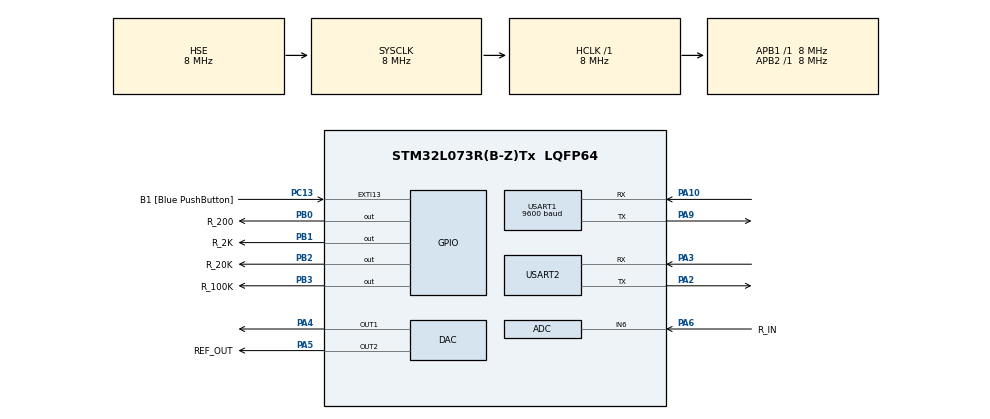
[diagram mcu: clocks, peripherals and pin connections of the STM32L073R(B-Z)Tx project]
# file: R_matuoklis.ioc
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Mcu.Family=STM32L0
Mcu.Name=STM32L073R(B-Z)Tx
Mcu.Package=LQFP64
NVIC.TIM2_IRQn=true\:0\:0\:false\:false\:true\:true\:true\:true
NVIC.TIM3_IRQn=true\:0\:0\:false\:false\:true\:true\:true\:true
NVIC.TIM7_IRQn=true\:0\:0\:false\:false\:true\:true\:true\:true
NVIC.USART1_IRQn=true\:0\:0\:false\:false\:true\:true\:true\:true
PA10.GPIO_ModeDefaultPP=GPIO_MODE_AF_PP
PA10.Mode=Asynchronous
PA10.Signal=USART1_RX
PA13.GPIO_Label=TMS
PA13.Mode=Serial_Wire
PA13.Signal=SYS_SWDIO
PA14.GPIO_Label=TCK
PA14.Mode=Serial_Wire
PA14.Signal=SYS_SWCLK
PA2.Mode=Asynchronous
PA2.Signal=USART2_TX
PA3.Mode=Asynchronous
PA3.Signal=USART2_RX
PA4.Signal=COMP_DAC1_group
PA5.GPIO_Label=REF_OUT
PA5.Signal=COMP_DAC2_group
PA6.GPIO_Label=R_IN
PA6.Mode=IN6
PA6.Signal=ADC_IN6
PA9.GPIO_ModeDefaultPP=GPIO_MODE_AF_PP
PA9.Mode=Asynchronous
PA9.Signal=USART1_TX
PB0.GPIO_Label=R_200
PB0.PinState=GPIO_PIN_RESET
PB0.Signal=GPIO_Output
PB1.GPIO_Label=R_2K
PB1.PinState=GPIO_PIN_RESET
PB1.Signal=GPIO_Output
PB2.GPIO_Label=R_20K
PB2.Signal=GPIO_Output
PB3.GPIO_Label=R_100K
PB3.PinState=GPIO_PIN_RESET
PB3.Signal=GPIO_Output
PC13.GPIO_Label=B1 [Blue PushButton]
PC13.GPIO_ModeDefaultEXTI=GPIO_MODE_IT_FALLING
PC13.Signal=GPXTI13
PC14-OSC32_IN.Mode=LSE-External-Oscillator
PC14-OSC32_IN.Signal=RCC_OSC32_IN
PC15-OSC32_OUT.Mode=LSE-External-Oscillator
PC15-OSC32_OUT.Signal=RCC_OSC32_OUT
PH0-OSC_IN.GPIO_Label=MCO
PH0-OSC_IN.Mode=HSE-External-Clock-Source
PH0-OSC_IN.Signal=RCC_OSC_IN
ProjectManager.HeapSize=0x200
ProjectManager.StackSize=0x400
ProjectManager.TargetToolchain=MDK-ARM V5.32
RCC.ADCFreq_Value=16000000
RCC.AHBFreq_Value=8000000
RCC.APB1Freq_Value=8000000
RCC.APB1TimFreq_Value=8000000
RCC.APB2Freq_Value=8000000
RCC.APB2TimFreq_Value=8000000
RCC.HCLKFreq_Value=8000000
RCC.HSE_VALUE=8000000
RCC.HSI16_VALUE=16000000
RCC.HSI48_VALUE=48000000
RCC.HSI_VALUE=16000000
RCC.MSI_VALUE=2097000
RCC.PLLDIV=RCC_PLLDIV_3
RCC.PLLSourceVirtual=RCC_PLLSOURCE_HSE
RCC.SYSCLKFreq_VALUE=8000000
RCC.SYSCLKSource=RCC_SYSCLKSOURCE_HSE
RCC.VCOOutputFreq_Value=24000000
SH.COMP_DAC1_group.0=DAC_OUT1,DAC_OUT1
SH.COMP_DAC2_group.0=DAC_OUT2,DAC_OUT2
TIM2.Period=999
TIM2.Prescaler=7999
TIM3.AutoReloadPreload=TIM_AUTORELOAD_PRELOAD_ENABLE
TIM3.Period=9
TIM3.Prescaler=7999
TIM7.AutoReloadPreload=TIM_AUTORELOAD_PRELOAD_DISABLE
TIM7.Period=999
TIM7.Prescaler=7999
TIM7.TIM_MasterOutputTrigger=TIM_TRGO_RESET
USART1.BaudRate=9600
USART1.VirtualMode-Asynchronous=VM_ASYNC
USART2.VirtualMode-Asynchronous=VM_ASYNC
VP_TIM2_VS_ClockSourceINT.Mode=Internal
VP_TIM3_VS_ClockSourceINT.Mode=Internal
VP_TIM7_VS_ClockSourceINT.Mode=Enable_Timer
board=NUCLEO-L073RZ

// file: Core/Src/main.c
/* USER CODE BEGIN Header */
/**
  ******************************************************************************
  * @file           : main.c
  * @brief          : Main program body
  ******************************************************************************
  * @attention
  *
  * Copyright (c) 2025 STMicroelectronics.
  * All rights reserved.
  *
  * This software is licensed under terms that can be found in the LICENSE file
  * in the root directory of this software component.
  * If no LICENSE file comes with this software, it is provided AS-IS.
  *
  ******************************************************************************
  */
/* USER CODE END Header */
#include "main.h"

/* USER CODE BEGIN Includes */
#include <math.h>
#include <stdio.h>
#include <string.h>
#include <stdbool.h>

/* USER CODE END Includes */

/* USER CODE BEGIN PD */
#define SAMPLES 100

/* USER CODE END PD */

ADC_HandleTypeDef hadc;

DAC_HandleTypeDef hdac;

TIM_HandleTypeDef htim2;
TIM_HandleTypeDef htim3;
TIM_HandleTypeDef htim7;

UART_HandleTypeDef huart1;
UART_HandleTypeDef huart2;

/* USER CODE BEGIN PV */

//Atramine itampa.
uint16_t dac_value = 4095;

//Matavimo riba.
uint8_t diap = 0;

//Maksimali verte - kalibruota.
uint16_t maks[] = {
    3959,//200
    3988,//2K
    3997,//20K
    3990//100K
};

//Matavimo ribu koeficientai.
uint16_t koef[] = {
    200,
    2,
    20,
    100
};

/*
Matavimo ribos indikavimo komandos.
*/
unsigned char cmd_200_Ohm[] = {0x74, 0x34, 0x2E, 0x74, 0x78, 0x74, 0x3D, 0x22, 0x32, 0x30, 0x30, 0x20, 0xE2, 0x84, 0xA6, 0x22};//t4.txt="200 Ohm" - 16 baitu
unsigned char cmd_2_kOhm[] = {0x74, 0x34, 0x2E, 0x74, 0x78, 0x74, 0x3D, 0x22, 0x32, 0x20, 0x6B, 0xE2, 0x84, 0xA6, 0x22};//t4.txt="2 kOhm" - 15 baitu
unsigned char cmd_20_kOhm[] = {0x74, 0x34, 0x2E, 0x74, 0x78, 0x74, 0x3D, 0x22, 0x32, 0x30, 0x20, 0x6B, 0xE2, 0x84, 0xA6, 0x22};//t4.txt="20 kOhm" - 16 baitu
unsigned char cmd_100_kOhm[] = {0x74, 0x34, 0x2E, 0x74, 0x78, 0x74, 0x3D, 0x22, 0x31, 0x30, 0x30, 0x20, 0x6B, 0xE2, 0x84, 0xA6, 0x22};//t4.txt="100 kOhm" - 17 baitu

/*
Matavimo proceso indikatoriaus kontroles komandos.
*/
unsigned char cmd_tick_on[] = {0x74, 0x35, 0x2E, 0x61, 0x70, 0x68, 0x3D, 0x31, 0x32, 0x37};//t5.aph=127 - 10 baitu
unsigned char cmd_tick_off[] = {0x74, 0x35, 0x2E, 0x61, 0x70, 0x68, 0x3D, 0x30};//t5.aph=127 - 8 baitai

/*
Nextion komandos terminavimo seka.
*/
static uint8_t LF_pattern[] = {0xFF, 0xFF, 0xFF};

/*
Matavimo vienetai.
*/
unsigned char s_ohm[] = {0xE2, 0x84, 0xA6};//Ohm
unsigned char s_kohm[] = {0x6B, 0xE2, 0x84, 0xA6};//kOhm

/*
Struktura naudojama priimant UART duomenis.
*/
typedef struct {
    uint8_t buffer[16];
    volatile uint16_t head;
    volatile uint16_t tail;
} uart_rx_buffer_t;
uart_rx_buffer_t uart_rx = { .head = 0, .tail = 0 };

uint8_t sample_count = 0;
uint16_t ADC_samples[SAMPLES];
float R;
uint8_t rx_data;

unsigned char ADC_Ready = 1;
char buffr[25];
char rToNextion[25];
size_t txt_len = 0;
unsigned char mat_vnt[4];
bool tick_on = false;

/* USER CODE END PV */

void SystemClock_Config(void);
static void MX_GPIO_Init(void);
static void MX_DAC_Init(void);
static void MX_TIM7_Init(void);
static void MX_TIM3_Init(void);
static void MX_ADC_Init(void);
static void MX_USART1_UART_Init(void);
static void MX_USART2_UART_Init(void);
static void MX_TIM2_Init(void);

/* USER CODE BEGIN 0 */

/*
Isciuncia komandos terminavimo seka i Nextion.
*/
void sendTerm() {
    HAL_UART_Transmit(&huart1, (uint8_t*)LF_pattern, 3, 10);
}

/*
Atlieka matavimo ribos perjungima.
*/
void HAL_UART_RxCpltCallback(UART_HandleTypeDef *huart) {
    if (huart->Instance == USART1) {
        HAL_UART_Receive_IT(&huart1, &rx_data, 1);

        uart_rx.buffer[uart_rx.head] = rx_data;

        if (uart_rx.head > 1
        && uart_rx.buffer[uart_rx.head - 2] == 0xFF
        && uart_rx.buffer[uart_rx.head - 1] == 0xFF
        && uart_rx.buffer[uart_rx.head] == 0xFF) { //Visi duomenys priimti (atpazinta komandos tarminavimo seka 0xFF, 0xFF, 0xFF.

            switch (uart_rx.buffer[uart_rx.head - 4]) {
            case 0x04://Diapozono sumazinimo mygtuko ID
                if (diap > 0) {
                    diap = diap - 1;
                }
                break;
            case 0x03://Diapozono padidinimo mygtuko ID
                if (diap < 3) {
                    diap = diap + 1;
                }
                break;
            }

            //Diapozono perjungimas

            HAL_GPIO_WritePin(R_200_GPIO_Port, R_200_Pin, GPIO_PIN_RESET);
            HAL_GPIO_WritePin(R_2K_GPIO_Port, R_2K_Pin, GPIO_PIN_RESET);
            HAL_GPIO_WritePin(R_20K_GPIO_Port, R_20K_Pin, GPIO_PIN_RESET);
            HAL_GPIO_WritePin(R_100K_GPIO_Port, R_100K_Pin, GPIO_PIN_RESET);

            switch (diap) {
            case 0:
                HAL_GPIO_WritePin(R_200_GPIO_Port, R_200_Pin, GPIO_PIN_SET);
                HAL_UART_Transmit(&huart1, cmd_200_Ohm, 16, 10);
                sendTerm();
                break;
            case 1:
                HAL_GPIO_WritePin(R_2K_GPIO_Port, R_2K_Pin, GPIO_PIN_SET);
                HAL_UART_Transmit(&huart1, cmd_2_kOhm, 15, 10);
                sendTerm();
                break;
            case 2:
                HAL_GPIO_WritePin(R_20K_GPIO_Port, R_20K_Pin, GPIO_PIN_SET);
                HAL_UART_Transmit(&huart1, cmd_20_kOhm, 16, 10);
                sendTerm();
                break;
            case 3:
                HAL_GPIO_WritePin(R_100K_GPIO_Port, R_100K_Pin, GPIO_PIN_SET);
                HAL_UART_Transmit(&huart1, cmd_100_kOhm, 17, 10);
                sendTerm();
                break;
            }

            uart_rx.head = 0;
            memset(uart_rx.buffer, 0x00, sizeof(uart_rx.buffer));
        }

        uart_rx.head = uart_rx.head + 1;
    }
}

/*
Atlieka duomenu nsukaityma, ju issiuntima i PC bei Nextion. Taip pat kontroliuoja duomenu nuskaitymo indikatoriu.
*/
void HAL_TIM_PeriodElapsedCallback(TIM_HandleTypeDef * htim) {
    if (htim == &htim7 && sample_count == SAMPLES) {

        float total = 0;
        for (int a = 0; a < sample_count; a++) {
            total += (float) ADC_samples[a] / maks[diap];
        }

        R = (total / SAMPLES) * koef[diap];

        if (R > koef[diap] + (float_t)koef[diap]/200) {//Indikuojama kai virsijama matavimo riba, papildomai pridedant 0.5 proc.
            strcpy(buffr, "0,L\r\n");
            txt_len = 5;

        } else {
				uint8_t i = 3;//Indeksas pakeisti taska kableliu.
            char fmt[] = "%007.3f %.4s\r\n";
            switch (diap) {
            case 0:
                memcpy(mat_vnt, s_ohm, 3);//Ohm
                strcpy(fmt, "%007.3f %.3s\r\n");
								i = 3;
                break;
            case 1:
                memcpy(mat_vnt, s_kohm, 4);//kOhm
                strcpy(fmt, "%5.3f %.4s\r\n");
								i = 1;
                break;
            case 2:
                memcpy(mat_vnt, s_kohm, 4);//kOhm
                strcpy(fmt, "%06.3f %.4s\r\n");
								i = 2;
                break;
            case 3:
                memcpy(mat_vnt, s_kohm, 4);//kOhm
                strcpy(fmt, "%007.3f %.4s\r\n");
								i = 3;
                break;
            };

						R = roundf(R*1000.0f)/1000.0f;

            txt_len = snprintf(NULL, 0, fmt, R, mat_vnt);
            sprintf(buffr, fmt, R, mat_vnt);
						memset(buffr + i, ',', 1);//Pakeiciamas taskas kableliu.
        }

        sample_count = 0;
        size_t buf_len = sizeof buffr;

        //Isiunciami duomenys i personalini kompiuteri.
        HAL_UART_Transmit(&huart2, (uint8_t*)buffr, buf_len, 10);

        //Isiunciami duomenys i Nextion.
        memset(rToNextion, 0x00, sizeof(rToNextion));

        char cmd[] = "t3.txt=\"";
        size_t c_len = sizeof cmd - 1;

        memcpy(rToNextion, cmd, c_len);
        txt_len -= 2;
        memcpy(rToNextion + c_len, buffr,  txt_len);
        memcpy(rToNextion + c_len + txt_len, "\"", 1);

        HAL_UART_Transmit(&huart1, (uint8_t*)rToNextion, c_len + txt_len + 1, 10);
        sendTerm();

    } else if (htim == &htim3) {
        if (sample_count < SAMPLES) {

            //Ijungiamas matavimo indikatorius
            if (!tick_on) {
                HAL_UART_Transmit(&huart1, cmd_tick_on, 10, 10);
                sendTerm();

                tick_on = true;
            }

            //Nuskaitomi ADC duomenys
            if (ADC_Ready == 1) {
                if (HAL_ADC_Start(&hadc) != HAL_OK) {
                    Error_Handler();
                } else {
                    ADC_Ready = 0;
                }

                if (HAL_ADC_PollForConversion(&hadc, 10) == HAL_OK) {
                    if ((HAL_ADC_GetState(&hadc) & HAL_ADC_STATE_REG_EOC) == HAL_ADC_STATE_REG_EOC) {
                        ADC_samples[sample_count] = HAL_ADC_GetValue(&hadc);

                        sample_count ++;
                        ADC_Ready = 1;
                    }
                }
            }
        } else {
            //Isjungiamas matavimo indikatorius
            if (tick_on) {
                HAL_UART_Transmit(&huart1, cmd_tick_off, 8, 10);
                sendTerm();

                tick_on = false;
            }
        }
    } else if (htim == &htim2) {//Nustatomi matuoklio pradiniai parametrai

        diap = 0;
        HAL_GPIO_WritePin(R_200_GPIO_Port, R_200_Pin, GPIO_PIN_SET);
        HAL_UART_Transmit(&huart1, cmd_200_Ohm, 16, 10);
        sendTerm();

        //Taimeris isjungiamas.
        if (HAL_TIM_Base_Stop_IT(&htim2) != HAL_OK) {
            Error_Handler();
        }
    }
}

/* USER CODE END 0 */

int main(void) {

    /* MCU Configuration--------------------------------------------------------*/

    /* Reset of all peripherals, Initializes the Flash interface and the Systick. */
    HAL_Init();

    /* Configure the system clock */
    SystemClock_Config();

    /* Initialize all configured peripherals */
    MX_GPIO_Init();
    MX_DAC_Init();
    MX_TIM7_Init();
    MX_TIM3_Init();
    MX_ADC_Init();
    MX_USART1_UART_Init();
    MX_USART2_UART_Init();
    MX_TIM2_Init();
    /* USER CODE BEGIN 2 */

// Ref. itampos nustatymas
    HAL_DAC_Start(&hdac, DAC_CHANNEL_2);
    HAL_DAC_SetValue(&hdac, DAC_CHANNEL_2, DAC_ALIGN_12B_R, dac_value);

//ADC kalibravimas
    if (HAL_ADCEx_Calibration_Start(&hadc, ADC_SINGLE_ENDED) != HAL_OK) {
        Error_Handler();
    }

//Taimeriu paleidimas
    if (HAL_TIM_Base_Start_IT(&htim7) != HAL_OK) {
        Error_Handler();
    }

    if (HAL_TIM_Base_Start_IT(&htim2) != HAL_OK) {
        Error_Handler();
    }

    if (HAL_TIM_Base_Start_IT(&htim3) != HAL_OK) {
        Error_Handler();
    }

    /* USER CODE END 2 */

    /* Infinite loop */
    while (1) {

    }
}

void SystemClock_Config(void) {
    RCC_OscInitTypeDef RCC_OscInitStruct = {0};
    RCC_ClkInitTypeDef RCC_ClkInitStruct = {0};
    RCC_PeriphCLKInitTypeDef PeriphClkInit = {0};

    /** Configure the main internal regulator output voltage
    */
    __HAL_PWR_VOLTAGESCALING_CONFIG(PWR_REGULATOR_VOLTAGE_SCALE1);

    /** Initializes the RCC Oscillators according to the specified parameters
    * in the RCC_OscInitTypeDef structure.
    */
    RCC_OscInitStruct.OscillatorType = RCC_OSCILLATORTYPE_HSE;
    RCC_OscInitStruct.HSEState = RCC_HSE_BYPASS;
    RCC_OscInitStruct.PLL.PLLState = RCC_PLL_NONE;
    if (HAL_RCC_OscConfig(&RCC_OscInitStruct) != HAL_OK) {
        Error_Handler();
    }

    /** Initializes the CPU, AHB and APB buses clocks
    */
    RCC_ClkInitStruct.ClockType = RCC_CLOCKTYPE_HCLK | RCC_CLOCKTYPE_SYSCLK
                                  | RCC_CLOCKTYPE_PCLK1 | RCC_CLOCKTYPE_PCLK2;
    RCC_ClkInitStruct.SYSCLKSource = RCC_SYSCLKSOURCE_HSE;
    RCC_ClkInitStruct.AHBCLKDivider = RCC_SYSCLK_DIV1;
    RCC_ClkInitStruct.APB1CLKDivider = RCC_HCLK_DIV1;
    RCC_ClkInitStruct.APB2CLKDivider = RCC_HCLK_DIV1;

    if (HAL_RCC_ClockConfig(&RCC_ClkInitStruct, FLASH_LATENCY_0) != HAL_OK) {
        Error_Handler();
    }
    PeriphClkInit.PeriphClockSelection = RCC_PERIPHCLK_USART1 | RCC_PERIPHCLK_USART2;
    PeriphClkInit.Usart1ClockSelection = RCC_USART1CLKSOURCE_PCLK2;
    PeriphClkInit.Usart2ClockSelection = RCC_USART2CLKSOURCE_PCLK1;
    if (HAL_RCCEx_PeriphCLKConfig(&PeriphClkInit) != HAL_OK) {
        Error_Handler();
    }
}

static void MX_ADC_Init(void) {

    ADC_ChannelConfTypeDef sConfig = {0};

    /** Configure the global features of the ADC (Clock, Resolution, Data Alignment and number of conversion)
    */
    hadc.Instance = ADC1;
    hadc.Init.OversamplingMode = DISABLE;
    hadc.Init.ClockPrescaler = ADC_CLOCK_SYNC_PCLK_DIV1;
    hadc.Init.Resolution = ADC_RESOLUTION_12B;
    hadc.Init.SamplingTime = ADC_SAMPLETIME_1CYCLE_5;
    hadc.Init.ScanConvMode = ADC_SCAN_DIRECTION_FORWARD;
    hadc.Init.DataAlign = ADC_DATAALIGN_RIGHT;
    hadc.Init.ContinuousConvMode = DISABLE;
    hadc.Init.DiscontinuousConvMode = DISABLE;
    hadc.Init.ExternalTrigConvEdge = ADC_EXTERNALTRIGCONVEDGE_NONE;
    hadc.Init.ExternalTrigConv = ADC_SOFTWARE_START;
    hadc.Init.DMAContinuousRequests = DISABLE;
    hadc.Init.EOCSelection = ADC_EOC_SINGLE_CONV;
    hadc.Init.Overrun = ADC_OVR_DATA_PRESERVED;
    hadc.Init.LowPowerAutoWait = DISABLE;
    hadc.Init.LowPowerFrequencyMode = DISABLE;
    hadc.Init.LowPowerAutoPowerOff = DISABLE;
    if (HAL_ADC_Init(&hadc) != HAL_OK) {
        Error_Handler();
    }

    /** Configure for the selected ADC regular channel to be converted.
    */
    sConfig.Channel = ADC_CHANNEL_6;
    sConfig.Rank = ADC_RANK_CHANNEL_NUMBER;
    if (HAL_ADC_ConfigChannel(&hadc, &sConfig) != HAL_OK) {
        Error_Handler();
    }

}

static void MX_DAC_Init(void) {

    DAC_ChannelConfTypeDef sConfig = {0};

    /** DAC Initialization
    */
    hdac.Instance = DAC;
    if (HAL_DAC_Init(&hdac) != HAL_OK) {
        Error_Handler();
    }

    /** DAC channel OUT1 config
    */
    sConfig.DAC_Trigger = DAC_TRIGGER_NONE;
    sConfig.DAC_OutputBuffer = DAC_OUTPUTBUFFER_ENABLE;
    if (HAL_DAC_ConfigChannel(&hdac, &sConfig, DAC_CHANNEL_1) != HAL_OK) {
        Error_Handler();
    }

    /** DAC channel OUT2 config
    */
    if (HAL_DAC_ConfigChannel(&hdac, &sConfig, DAC_CHANNEL_2) != HAL_OK) {
        Error_Handler();
    }

}

static void MX_TIM2_Init(void) {

    TIM_ClockConfigTypeDef sClockSourceConfig = {0};
    TIM_MasterConfigTypeDef sMasterConfig = {0};

    htim2.Instance = TIM2;
    htim2.Init.Prescaler = 7999;
    htim2.Init.CounterMode = TIM_COUNTERMODE_UP;
    htim2.Init.Period = 999;
    htim2.Init.ClockDivision = TIM_CLOCKDIVISION_DIV1;
    htim2.Init.AutoReloadPreload = TIM_AUTORELOAD_PRELOAD_DISABLE;
    if (HAL_TIM_Base_Init(&htim2) != HAL_OK) {
        Error_Handler();
    }
    sClockSourceConfig.ClockSource = TIM_CLOCKSOURCE_INTERNAL;
    if (HAL_TIM_ConfigClockSource(&htim2, &sClockSourceConfig) != HAL_OK) {
        Error_Handler();
    }
    sMasterConfig.MasterOutputTrigger = TIM_TRGO_RESET;
    sMasterConfig.MasterSlaveMode = TIM_MASTERSLAVEMODE_DISABLE;
    if (HAL_TIMEx_MasterConfigSynchronization(&htim2, &sMasterConfig) != HAL_OK) {
        Error_Handler();
    }

}

static void MX_TIM3_Init(void) {

    TIM_ClockConfigTypeDef sClockSourceConfig = {0};
    TIM_MasterConfigTypeDef sMasterConfig = {0};

    htim3.Instance = TIM3;
    htim3.Init.Prescaler = 7999;
    htim3.Init.CounterMode = TIM_COUNTERMODE_UP;
    htim3.Init.Period = 9;
    htim3.Init.ClockDivision = TIM_CLOCKDIVISION_DIV1;
    htim3.Init.AutoReloadPreload = TIM_AUTORELOAD_PRELOAD_ENABLE;
    if (HAL_TIM_Base_Init(&htim3) != HAL_OK) {
        Error_Handler();
    }
    sClockSourceConfig.ClockSource = TIM_CLOCKSOURCE_INTERNAL;
    if (HAL_TIM_ConfigClockSource(&htim3, &sClockSourceConfig) != HAL_OK) {
        Error_Handler();
    }
    sMasterConfig.MasterOutputTrigger = TIM_TRGO_RESET;
    sMasterConfig.MasterSlaveMode = TIM_MASTERSLAVEMODE_DISABLE;
    if (HAL_TIMEx_MasterConfigSynchronization(&htim3, &sMasterConfig) != HAL_OK) {
        Error_Handler();
    }

}

static void MX_TIM7_Init(void) {

    TIM_MasterConfigTypeDef sMasterConfig = {0};

    htim7.Instance = TIM7;
    htim7.Init.Prescaler = 7999;
    htim7.Init.CounterMode = TIM_COUNTERMODE_UP;
    htim7.Init.Period = 999;
    htim7.Init.AutoReloadPreload = TIM_AUTORELOAD_PRELOAD_DISABLE;
    if (HAL_TIM_Base_Init(&htim7) != HAL_OK) {
        Error_Handler();
    }
    sMasterConfig.MasterOutputTrigger = TIM_TRGO_RESET;
    sMasterConfig.MasterSlaveMode = TIM_MASTERSLAVEMODE_DISABLE;
    if (HAL_TIMEx_MasterConfigSynchronization(&htim7, &sMasterConfig) != HAL_OK) {
        Error_Handler();
    }

}

static void MX_USART1_UART_Init(void) {

    huart1.Instance = USART1;
    huart1.Init.BaudRate = 9600;
    huart1.Init.WordLength = UART_WORDLENGTH_8B;
    huart1.Init.StopBits = UART_STOPBITS_1;
    huart1.Init.Parity = UART_PARITY_NONE;
    huart1.Init.Mode = UART_MODE_TX_RX;
    huart1.Init.HwFlowCtl = UART_HWCONTROL_NONE;
    huart1.Init.OverSampling = UART_OVERSAMPLING_16;
    huart1.Init.OneBitSampling = UART_ONE_BIT_SAMPLE_DISABLE;
    huart1.AdvancedInit.AdvFeatureInit = UART_ADVFEATURE_NO_INIT;
    if (HAL_UART_Init(&huart1) != HAL_OK) {
        Error_Handler();
    }
    /* USER CODE BEGIN USART1_Init 2 */
// Enable RX interrupt
    HAL_UART_Receive_IT(&huart1, &rx_data, 10);
    /* USER CODE END USART1_Init 2 */

}

static void MX_USART2_UART_Init(void) {

    huart2.Instance = USART2;
    huart2.Init.BaudRate = 115200;
    huart2.Init.WordLength = UART_WORDLENGTH_8B;
    huart2.Init.StopBits = UART_STOPBITS_1;
    huart2.Init.Parity = UART_PARITY_NONE;
    huart2.Init.Mode = UART_MODE_TX_RX;
    huart2.Init.HwFlowCtl = UART_HWCONTROL_NONE;
    huart2.Init.OverSampling = UART_OVERSAMPLING_16;
    huart2.Init.OneBitSampling = UART_ONE_BIT_SAMPLE_DISABLE;
    huart2.AdvancedInit.AdvFeatureInit = UART_ADVFEATURE_NO_INIT;
    if (HAL_UART_Init(&huart2) != HAL_OK) {
        Error_Handler();
    }

}

static void MX_GPIO_Init(void) {
    GPIO_InitTypeDef GPIO_InitStruct = {0};

    /* GPIO Ports Clock Enable */
    __HAL_RCC_GPIOC_CLK_ENABLE();
    __HAL_RCC_GPIOH_CLK_ENABLE();
    __HAL_RCC_GPIOA_CLK_ENABLE();
    __HAL_RCC_GPIOB_CLK_ENABLE();

    /*Configure GPIO pin Output Level */
    HAL_GPIO_WritePin(GPIOB, R_200_Pin | R_2K_Pin | R_20K_Pin | R_100K_Pin, GPIO_PIN_RESET);

    /*Configure GPIO pin : B1_Pin */
    GPIO_InitStruct.Pin = B1_Pin;
    GPIO_InitStruct.Mode = GPIO_MODE_IT_FALLING;
    GPIO_InitStruct.Pull = GPIO_NOPULL;
    HAL_GPIO_Init(B1_GPIO_Port, &GPIO_InitStruct);

    /*Configure GPIO pins : R_200_Pin R_2K_Pin R_20K_Pin R_100K_Pin */
    GPIO_InitStruct.Pin = R_200_Pin | R_2K_Pin | R_20K_Pin | R_100K_Pin;
    GPIO_InitStruct.Mode = GPIO_MODE_OUTPUT_PP;
    GPIO_InitStruct.Pull = GPIO_NOPULL;
    GPIO_InitStruct.Speed = GPIO_SPEED_FREQ_LOW;
    HAL_GPIO_Init(GPIOB, &GPIO_InitStruct);

    /* USER CODE BEGIN MX_GPIO_Init_2 */
    HAL_NVIC_SetPriority(USART1_IRQn, 0, 0);
    HAL_NVIC_EnableIRQ(USART1_IRQn);

    /* USER CODE END MX_GPIO_Init_2 */
}

void Error_Handler(void) {
    __disable_irq();
    while (1) {
    }
}
